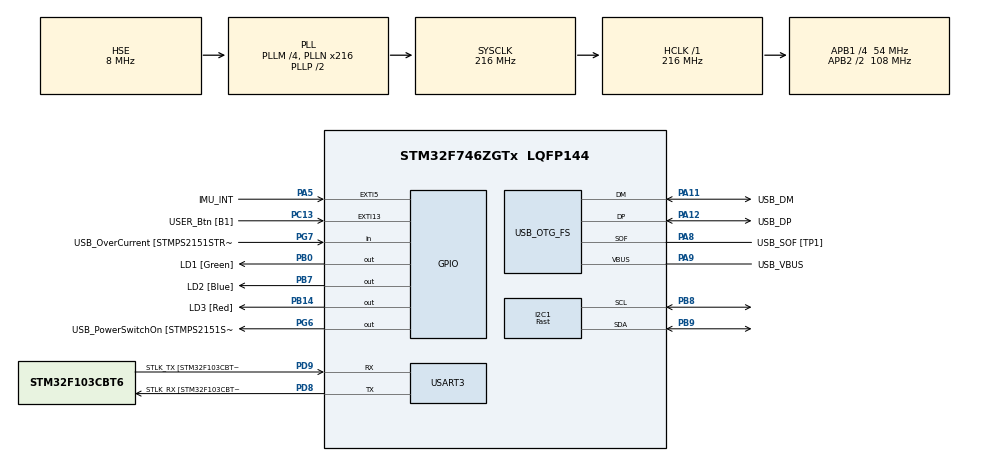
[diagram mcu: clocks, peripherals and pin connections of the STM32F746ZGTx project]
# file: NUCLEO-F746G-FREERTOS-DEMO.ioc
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FREERTOS.BinarySemaphores01=Motion_Semaphore,Static,Motion_Semaphore_ControlBlock
FREERTOS.Queues01=Send_Sensor_Data,16,uint16_t,0,Static,Send_Sensor_DataBuffer,Send_Sensor_DataControlBlock
FREERTOS.Tasks01=defaultTask,24,128,StartDefaultTask,Default,NULL,Dynamic,NULL,NULL;Sender_task,40,128,Start_Sender_task,As external,NULL,Dynamic,NULL,NULL;Reciver_task,41,2048,Start_Reciver_task,Default,NULL,Static,Reciver_taskBuffer,Reciver_taskControlBlock
FREERTOS.Timers01=Check_IMU_Angle_Timer,Check_Angle,osTimerOnce,As external,NULL,Dynamic,NULL
FREERTOS.configENABLE_FPU=1
FREERTOS.configUSE_NEWLIB_REENTRANT=1
I2C1.Analog_Filter=I2C_ANALOGFILTER_DISABLE
I2C1.I2C_Speed_Mode=I2C_Fast
I2C1.Timing=0x00501E63
Mcu.Family=STM32F7
Mcu.Name=STM32F746ZGTx
Mcu.Package=LQFP144
NVIC.EXTI15_10_IRQn=true\:5\:0\:false\:false\:true\:true\:true\:true
NVIC.EXTI9_5_IRQn=true\:5\:0\:false\:false\:true\:true\:true\:true
NVIC.PriorityGroup=NVIC_PRIORITYGROUP_4
NVIC.TIM8_TRG_COM_TIM14_IRQn=true\:15\:0\:false\:false\:true\:false\:false\:true
NVIC.TimeBase=TIM8_TRG_COM_TIM14_IRQn
NVIC.TimeBaseIP=TIM14
PA1.GPIO_Label=RMII_REF_CLK [LAN8742A-CZ-TR_REFCLK0]
PA1.Signal=ETH_REF_CLK
PA10.GPIO_Label=USB_ID
PA10.Signal=USB_OTG_FS_ID
PA11.GPIO_Label=USB_DM
PA11.Mode=Device_Only
PA11.Signal=USB_OTG_FS_DM
PA12.GPIO_Label=USB_DP
PA12.Mode=Device_Only
PA12.Signal=USB_OTG_FS_DP
PA13.GPIO_Label=TMS
PA13.Mode=Serial_Wire
PA13.Signal=SYS_JTMS-SWDIO
PA14.GPIO_Label=TCK
PA14.Mode=Serial_Wire
PA14.Signal=SYS_JTCK-SWCLK
PA2.GPIO_Label=RMII_MDIO [LAN8742A-CZ-TR_MDIO]
PA2.Signal=ETH_MDIO
PA5.GPIO_Label=IMU_INT
PA5.GPIO_ModeDefaultEXTI=GPIO_MODE_IT_FALLING
PA5.GPIO_PuPd=GPIO_NOPULL
PA5.Signal=GPXTI5
PA7.GPIO_Label=RMII_CRS_DV [LAN8742A-CZ-TR_CRS_DV]
PA7.Signal=ETH_CRS_DV
PA8.GPIO_Label=USB_SOF [TP1]
PA8.Mode=Activate_SOF_FS
PA8.Signal=USB_OTG_FS_SOF
PA9.GPIO_Label=USB_VBUS
PA9.Mode=Activate_VBUS
PA9.Signal=USB_OTG_FS_VBUS
PB0.GPIO_Label=LD1 [Green]
PB0.Signal=GPIO_Output
PB13.GPIO_Label=RMII_TXD1 [LAN8742A-CZ-TR_TXD1]
PB13.Signal=ETH_TXD1
PB14.GPIO_Label=LD3 [Red]
PB14.Signal=GPIO_Output
PB3.GPIO_Label=SW0
PB3.Signal=SYS_JTDO-SWO
PB7.GPIO_Label=LD2 [Blue]
PB7.Signal=GPIO_Output
PB8.Mode=I2C
PB8.Signal=I2C1_SCL
PB9.Mode=I2C
PB9.Signal=I2C1_SDA
PC1.GPIO_Label=RMII_MDC [LAN8742A-CZ-TR_MDC]
PC1.Signal=ETH_MDC
PC13.GPIO_Label=USER_Btn [B1]
PC13.Signal=GPXTI13
PC14/OSC32_IN.Mode=LSE-External-Oscillator
PC14/OSC32_IN.Signal=RCC_OSC32_IN
PC15/OSC32_OUT.Mode=LSE-External-Oscillator
PC15/OSC32_OUT.Signal=RCC_OSC32_OUT
PC4.GPIO_Label=RMII_RXD0 [LAN8742A-CZ-TR_RXD0]
PC4.Signal=ETH_RXD0
PC5.GPIO_Label=RMII_RXD1 [LAN8742A-CZ-TR_RXD1]
PC5.Signal=ETH_RXD1
PD8.GPIO_Label=STLK_RX [STM32F103CBT6_PA3]
PD8.Mode=Asynchronous
PD8.Signal=USART3_TX
PD9.GPIO_Label=STLK_TX [STM32F103CBT6_PA2]
PD9.Mode=Asynchronous
PD9.Signal=USART3_RX
PG11.GPIO_Label=RMII_TX_EN [LAN8742A-CZ-TR_TXEN]
PG11.Signal=ETH_TX_EN
PG13.GPIO_Label=RMII_TXD0 [LAN8742A-CZ-TR_TXD0]
PG13.Signal=ETH_TXD0
PG6.GPIO_Label=USB_PowerSwitchOn [STMPS2151STR_EN]
PG6.Signal=GPIO_Output
PG7.GPIO_Label=USB_OverCurrent [STMPS2151STR_FAULT]
PG7.Signal=GPIO_Input
PH0/OSC_IN.GPIO_Label=MCO [STM32F103CBT6_PA8]
PH0/OSC_IN.Mode=HSE-External-Clock-Source
PH0/OSC_IN.Signal=RCC_OSC_IN
PH1/OSC_OUT.Mode=HSE-External-Clock-Source
PH1/OSC_OUT.Signal=RCC_OSC_OUT
ProjectManager.HeapSize=0x200
ProjectManager.StackSize=0x400
ProjectManager.TargetToolchain=STM32CubeIDE
RCC.48MHZClocksFreq_Value=24000000
RCC.AHBFreq_Value=216000000
RCC.APB1CLKDivider=RCC_HCLK_DIV4
RCC.APB1Freq_Value=54000000
RCC.APB1TimFreq_Value=108000000
RCC.APB2CLKDivider=RCC_HCLK_DIV2
RCC.APB2Freq_Value=108000000
RCC.APB2TimFreq_Value=216000000
RCC.CortexFreq_Value=216000000
RCC.HCLKFreq_Value=216000000
RCC.HSE_VALUE=8000000
RCC.HSI_VALUE=16000000
RCC.PLLM=4
RCC.PLLMUL=RCC_PLL_MUL9
RCC.PLLN=216
RCC.PLLQ=9
RCC.PRESCALERUSB=RCC_USBCLKSOURCE_PLL_DIV1_5
RCC.SYSCLKFreq_VALUE=216000000
RCC.SYSCLKSource=RCC_SYSCLKSOURCE_PLLCLK
RCC.SYSCLKSourceVirtual=RCC_SYSCLKSOURCE_PLLCLK
RCC.USBFreq_Value=48000000
RCC.VCOOutputFreq_Value=432000000
USART3.VirtualMode-Asynchronous=VM_ASYNC
USB_OTG_FS.VirtualMode=Device_Only
VP_FREERTOS_VS_CMSIS_V2.Mode=CMSIS_V2
VP_SYS_VS_tim14.Mode=TIM14
board=NUCLEO-F746ZG

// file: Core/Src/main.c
/* USER CODE BEGIN Header */
/**
 ******************************************************************************
 * @file           : main.c
 * @brief          : Main program body
 ******************************************************************************
 * @attention
 *
 * Copyright (c) 2022 STMicroelectronics.
 * All rights reserved.
 *
 * This software is licensed under terms that can be found in the LICENSE file
 * in the root directory of this software component.
 * If no LICENSE file comes with this software, it is provided AS-IS.
 *
 ******************************************************************************
 */
/* USER CODE END Header */
#include "main.h"
#include "cmsis_os.h"

/* USER CODE BEGIN Includes */
#include "sender_task.h"
#include <stdio.h>
/* USER CODE END Includes */

typedef StaticTask_t osStaticThreadDef_t;
typedef StaticQueue_t osStaticMessageQDef_t;
typedef StaticSemaphore_t osStaticMutexDef_t;
typedef StaticSemaphore_t osStaticSemaphoreDef_t;

/* USER CODE BEGIN PD */
uint32_t counter_disp;
/* USER CODE END PD */

I2C_HandleTypeDef hi2c1;

UART_HandleTypeDef huart3;

PCD_HandleTypeDef hpcd_USB_OTG_FS;

/* Definitions for defaultTask */
osThreadId_t defaultTaskHandle;
const osThreadAttr_t defaultTask_attributes = {
  .name = "defaultTask",
  .stack_size = 2048 * 4,
  .priority = (osPriority_t) osPriorityNormal,
};
/* Definitions for Sender_task */
osThreadId_t Sender_taskHandle;
const osThreadAttr_t Sender_task_attributes = {
  .name = "Sender_task",
  .stack_size = 128 * 4,
  .priority = (osPriority_t) osPriorityHigh,
};
/* Definitions for Reciver_task */
osThreadId_t Reciver_taskHandle;
uint32_t Reciver_taskBuffer[ 2048 ];
osStaticThreadDef_t Reciver_taskControlBlock;
const osThreadAttr_t Reciver_task_attributes = {
  .name = "Reciver_task",
  .cb_mem = &Reciver_taskControlBlock,
  .cb_size = sizeof(Reciver_taskControlBlock),
  .stack_mem = &Reciver_taskBuffer[0],
  .stack_size = sizeof(Reciver_taskBuffer),
  .priority = (osPriority_t) osPriorityRealtime,
};
/* Definitions for Send_Sensor_Data */
osMessageQueueId_t Send_Sensor_DataHandle;
uint8_t Send_Sensor_DataBuffer[ 16 * sizeof( uint16_t ) ];
osStaticMessageQDef_t Send_Sensor_DataControlBlock;
const osMessageQueueAttr_t Send_Sensor_Data_attributes = {
  .name = "Send_Sensor_Data",
  .cb_mem = &Send_Sensor_DataControlBlock,
  .cb_size = sizeof(Send_Sensor_DataControlBlock),
  .mq_mem = &Send_Sensor_DataBuffer,
  .mq_size = sizeof(Send_Sensor_DataBuffer)
};
/* Definitions for Check_IMU_Angle_Timer */
osTimerId_t Check_IMU_Angle_TimerHandle;
const osTimerAttr_t Check_IMU_Angle_Timer_attributes = {
  .name = "Check_IMU_Angle_Timer"
};
/* Definitions for USART_MUTEX */
osMutexId_t USART_MUTEXHandle;
osStaticMutexDef_t USART_MUTEXControlBlock;
const osMutexAttr_t USART_MUTEX_attributes = {
  .name = "USART_MUTEX",
  .cb_mem = &USART_MUTEXControlBlock,
  .cb_size = sizeof(USART_MUTEXControlBlock),
};
/* Definitions for Motion_Semaphore */
osSemaphoreId_t Motion_SemaphoreHandle;
osStaticSemaphoreDef_t Motion_Semaphore_ControlBlock;
const osSemaphoreAttr_t Motion_Semaphore_attributes = {
  .name = "Motion_Semaphore",
  .cb_mem = &Motion_Semaphore_ControlBlock,
  .cb_size = sizeof(Motion_Semaphore_ControlBlock),
};

void SystemClock_Config(void);
static void MX_GPIO_Init(void);
static void MX_USART3_UART_Init(void);
static void MX_USB_OTG_FS_PCD_Init(void);
static void MX_I2C1_Init(void);
void StartDefaultTask(void *argument);
extern void Start_Sender_task(void *argument);
void Start_Reciver_task(void *argument);
extern void Check_Angle(void *argument);

int main(void)
{

  /* MCU Configuration--------------------------------------------------------*/

  /* Reset of all peripherals, Initializes the Flash interface and the Systick. */
  HAL_Init();

  /* Configure the system clock */
  SystemClock_Config();

  /* Initialize all configured peripherals */
  MX_GPIO_Init();
  MX_USART3_UART_Init();
  MX_USB_OTG_FS_PCD_Init();
  MX_I2C1_Init();

  /* Init scheduler */
  osKernelInitialize();
  /* Create the mutex(es) */
  /* creation of USART_MUTEX */
  USART_MUTEXHandle = osMutexNew(&USART_MUTEX_attributes);

  /* Create the semaphores(s) */
  /* creation of Motion_Semaphore */
  Motion_SemaphoreHandle = osSemaphoreNew(1, 1, &Motion_Semaphore_attributes);

  /* Create the timer(s) */
  /* creation of Check_IMU_Angle_Timer */
  Check_IMU_Angle_TimerHandle = osTimerNew(Check_Angle, osTimerOnce, NULL, &Check_IMU_Angle_Timer_attributes);

  /* Create the queue(s) */
  /* creation of Send_Sensor_Data */
  Send_Sensor_DataHandle = osMessageQueueNew (16, sizeof(uint16_t), &Send_Sensor_Data_attributes);

  /* Create the thread(s) */
  /* creation of defaultTask */
  defaultTaskHandle = osThreadNew(StartDefaultTask, NULL, &defaultTask_attributes);

  /* creation of Sender_task */
  Sender_taskHandle = osThreadNew(Start_Sender_task, NULL, &Sender_task_attributes);

  /* creation of Reciver_task */
  Reciver_taskHandle = osThreadNew(Start_Reciver_task, NULL, &Reciver_task_attributes);

  /* Start scheduler */
  osKernelStart();

  /* We should never get here as control is now taken by the scheduler */
  /* Infinite loop */
	while (1)
	{

	}
}

void SystemClock_Config(void)
{
  RCC_OscInitTypeDef RCC_OscInitStruct = {0};
  RCC_ClkInitTypeDef RCC_ClkInitStruct = {0};

  /** Configure LSE Drive Capability
  */
  HAL_PWR_EnableBkUpAccess();
  /** Configure the main internal regulator output voltage
  */
  __HAL_RCC_PWR_CLK_ENABLE();
  __HAL_PWR_VOLTAGESCALING_CONFIG(PWR_REGULATOR_VOLTAGE_SCALE1);
  /** Initializes the RCC Oscillators according to the specified parameters
  * in the RCC_OscInitTypeDef structure.
  */
  RCC_OscInitStruct.OscillatorType = RCC_OSCILLATORTYPE_HSE;
  RCC_OscInitStruct.HSEState = RCC_HSE_BYPASS;
  RCC_OscInitStruct.PLL.PLLState = RCC_PLL_ON;
  RCC_OscInitStruct.PLL.PLLSource = RCC_PLLSOURCE_HSE;
  RCC_OscInitStruct.PLL.PLLM = 4;
  RCC_OscInitStruct.PLL.PLLN = 216;
  RCC_OscInitStruct.PLL.PLLP = RCC_PLLP_DIV2;
  RCC_OscInitStruct.PLL.PLLQ = 9;
  if (HAL_RCC_OscConfig(&RCC_OscInitStruct) != HAL_OK)
  {
    Error_Handler();
  }
  /** Activate the Over-Drive mode
  */
  if (HAL_PWREx_EnableOverDrive() != HAL_OK)
  {
    Error_Handler();
  }
  /** Initializes the CPU, AHB and APB buses clocks
  */
  RCC_ClkInitStruct.ClockType = RCC_CLOCKTYPE_HCLK|RCC_CLOCKTYPE_SYSCLK
                              |RCC_CLOCKTYPE_PCLK1|RCC_CLOCKTYPE_PCLK2;
  RCC_ClkInitStruct.SYSCLKSource = RCC_SYSCLKSOURCE_PLLCLK;
  RCC_ClkInitStruct.AHBCLKDivider = RCC_SYSCLK_DIV1;
  RCC_ClkInitStruct.APB1CLKDivider = RCC_HCLK_DIV4;
  RCC_ClkInitStruct.APB2CLKDivider = RCC_HCLK_DIV2;

  if (HAL_RCC_ClockConfig(&RCC_ClkInitStruct, FLASH_LATENCY_7) != HAL_OK)
  {
    Error_Handler();
  }
}

static void MX_I2C1_Init(void)
{

  hi2c1.Instance = I2C1;
  hi2c1.Init.Timing = 0x00501E63;
  hi2c1.Init.OwnAddress1 = 0;
  hi2c1.Init.AddressingMode = I2C_ADDRESSINGMODE_7BIT;
  hi2c1.Init.DualAddressMode = I2C_DUALADDRESS_DISABLE;
  hi2c1.Init.OwnAddress2 = 0;
  hi2c1.Init.OwnAddress2Masks = I2C_OA2_NOMASK;
  hi2c1.Init.GeneralCallMode = I2C_GENERALCALL_DISABLE;
  hi2c1.Init.NoStretchMode = I2C_NOSTRETCH_DISABLE;
  if (HAL_I2C_Init(&hi2c1) != HAL_OK)
  {
    Error_Handler();
  }
  /** Configure Analogue filter
  */
  if (HAL_I2CEx_ConfigAnalogFilter(&hi2c1, I2C_ANALOGFILTER_DISABLE) != HAL_OK)
  {
    Error_Handler();
  }
  /** Configure Digital filter
  */
  if (HAL_I2CEx_ConfigDigitalFilter(&hi2c1, 0) != HAL_OK)
  {
    Error_Handler();
  }

}

static void MX_USART3_UART_Init(void)
{

  huart3.Instance = USART3;
  huart3.Init.BaudRate = 115200;
  huart3.Init.WordLength = UART_WORDLENGTH_8B;
  huart3.Init.StopBits = UART_STOPBITS_1;
  huart3.Init.Parity = UART_PARITY_NONE;
  huart3.Init.Mode = UART_MODE_TX_RX;
  huart3.Init.HwFlowCtl = UART_HWCONTROL_NONE;
  huart3.Init.OverSampling = UART_OVERSAMPLING_16;
  huart3.Init.OneBitSampling = UART_ONE_BIT_SAMPLE_DISABLE;
  huart3.AdvancedInit.AdvFeatureInit = UART_ADVFEATURE_NO_INIT;
  if (HAL_UART_Init(&huart3) != HAL_OK)
  {
    Error_Handler();
  }

}

static void MX_USB_OTG_FS_PCD_Init(void)
{

  hpcd_USB_OTG_FS.Instance = USB_OTG_FS;
  hpcd_USB_OTG_FS.Init.dev_endpoints = 6;
  hpcd_USB_OTG_FS.Init.speed = PCD_SPEED_FULL;
  hpcd_USB_OTG_FS.Init.dma_enable = DISABLE;
  hpcd_USB_OTG_FS.Init.phy_itface = PCD_PHY_EMBEDDED;
  hpcd_USB_OTG_FS.Init.Sof_enable = ENABLE;
  hpcd_USB_OTG_FS.Init.low_power_enable = DISABLE;
  hpcd_USB_OTG_FS.Init.lpm_enable = DISABLE;
  hpcd_USB_OTG_FS.Init.vbus_sensing_enable = ENABLE;
  hpcd_USB_OTG_FS.Init.use_dedicated_ep1 = DISABLE;
  if (HAL_PCD_Init(&hpcd_USB_OTG_FS) != HAL_OK)
  {
    Error_Handler();
  }

}

static void MX_GPIO_Init(void)
{
  GPIO_InitTypeDef GPIO_InitStruct = {0};

  /* GPIO Ports Clock Enable */
  __HAL_RCC_GPIOC_CLK_ENABLE();
  __HAL_RCC_GPIOH_CLK_ENABLE();
  __HAL_RCC_GPIOA_CLK_ENABLE();
  __HAL_RCC_GPIOB_CLK_ENABLE();
  __HAL_RCC_GPIOD_CLK_ENABLE();
  __HAL_RCC_GPIOG_CLK_ENABLE();

  /*Configure GPIO pin Output Level */
  HAL_GPIO_WritePin(GPIOB, LD1_Pin|LD3_Pin|LD2_Pin, GPIO_PIN_RESET);

  /*Configure GPIO pin Output Level */
  HAL_GPIO_WritePin(USB_PowerSwitchOn_GPIO_Port, USB_PowerSwitchOn_Pin, GPIO_PIN_RESET);

  /*Configure GPIO pin : USER_Btn_Pin */
  GPIO_InitStruct.Pin = USER_Btn_Pin;
  GPIO_InitStruct.Mode = GPIO_MODE_IT_RISING;
  GPIO_InitStruct.Pull = GPIO_NOPULL;
  HAL_GPIO_Init(USER_Btn_GPIO_Port, &GPIO_InitStruct);

  /*Configure GPIO pins : RMII_MDC_Pin RMII_RXD0_Pin RMII_RXD1_Pin */
  GPIO_InitStruct.Pin = RMII_MDC_Pin|RMII_RXD0_Pin|RMII_RXD1_Pin;
  GPIO_InitStruct.Mode = GPIO_MODE_AF_PP;
  GPIO_InitStruct.Pull = GPIO_NOPULL;
  GPIO_InitStruct.Speed = GPIO_SPEED_FREQ_VERY_HIGH;
  GPIO_InitStruct.Alternate = GPIO_AF11_ETH;
  HAL_GPIO_Init(GPIOC, &GPIO_InitStruct);

  /*Configure GPIO pins : RMII_REF_CLK_Pin RMII_MDIO_Pin RMII_CRS_DV_Pin */
  GPIO_InitStruct.Pin = RMII_REF_CLK_Pin|RMII_MDIO_Pin|RMII_CRS_DV_Pin;
  GPIO_InitStruct.Mode = GPIO_MODE_AF_PP;
  GPIO_InitStruct.Pull = GPIO_NOPULL;
  GPIO_InitStruct.Speed = GPIO_SPEED_FREQ_VERY_HIGH;
  GPIO_InitStruct.Alternate = GPIO_AF11_ETH;
  HAL_GPIO_Init(GPIOA, &GPIO_InitStruct);

  /*Configure GPIO pin : IMU_INT_Pin */
  GPIO_InitStruct.Pin = IMU_INT_Pin;
  GPIO_InitStruct.Mode = GPIO_MODE_IT_FALLING;
  GPIO_InitStruct.Pull = GPIO_NOPULL;
  HAL_GPIO_Init(IMU_INT_GPIO_Port, &GPIO_InitStruct);

  /*Configure GPIO pins : LD1_Pin LD3_Pin LD2_Pin */
  GPIO_InitStruct.Pin = LD1_Pin|LD3_Pin|LD2_Pin;
  GPIO_InitStruct.Mode = GPIO_MODE_OUTPUT_PP;
  GPIO_InitStruct.Pull = GPIO_NOPULL;
  GPIO_InitStruct.Speed = GPIO_SPEED_FREQ_LOW;
  HAL_GPIO_Init(GPIOB, &GPIO_InitStruct);

  /*Configure GPIO pin : RMII_TXD1_Pin */
  GPIO_InitStruct.Pin = RMII_TXD1_Pin;
  GPIO_InitStruct.Mode = GPIO_MODE_AF_PP;
  GPIO_InitStruct.Pull = GPIO_NOPULL;
  GPIO_InitStruct.Speed = GPIO_SPEED_FREQ_VERY_HIGH;
  GPIO_InitStruct.Alternate = GPIO_AF11_ETH;
  HAL_GPIO_Init(RMII_TXD1_GPIO_Port, &GPIO_InitStruct);

  /*Configure GPIO pin : USB_PowerSwitchOn_Pin */
  GPIO_InitStruct.Pin = USB_PowerSwitchOn_Pin;
  GPIO_InitStruct.Mode = GPIO_MODE_OUTPUT_PP;
  GPIO_InitStruct.Pull = GPIO_NOPULL;
  GPIO_InitStruct.Speed = GPIO_SPEED_FREQ_LOW;
  HAL_GPIO_Init(USB_PowerSwitchOn_GPIO_Port, &GPIO_InitStruct);

  /*Configure GPIO pin : USB_OverCurrent_Pin */
  GPIO_InitStruct.Pin = USB_OverCurrent_Pin;
  GPIO_InitStruct.Mode = GPIO_MODE_INPUT;
  GPIO_InitStruct.Pull = GPIO_NOPULL;
  HAL_GPIO_Init(USB_OverCurrent_GPIO_Port, &GPIO_InitStruct);

  /*Configure GPIO pins : RMII_TX_EN_Pin RMII_TXD0_Pin */
  GPIO_InitStruct.Pin = RMII_TX_EN_Pin|RMII_TXD0_Pin;
  GPIO_InitStruct.Mode = GPIO_MODE_AF_PP;
  GPIO_InitStruct.Pull = GPIO_NOPULL;
  GPIO_InitStruct.Speed = GPIO_SPEED_FREQ_VERY_HIGH;
  GPIO_InitStruct.Alternate = GPIO_AF11_ETH;
  HAL_GPIO_Init(GPIOG, &GPIO_InitStruct);

  /* EXTI interrupt init*/
  HAL_NVIC_SetPriority(EXTI9_5_IRQn, 5, 0);
  HAL_NVIC_EnableIRQ(EXTI9_5_IRQn);

  HAL_NVIC_SetPriority(EXTI15_10_IRQn, 5, 0);
  HAL_NVIC_EnableIRQ(EXTI15_10_IRQn);

}

void StartDefaultTask(void *argument)
{
  /* USER CODE BEGIN 5 */

	char buff[200];

	/* Infinite loop */
	for(;;)
	{

		osDelay(200);

		// To make sure that whole text is send in one go
		osMutexAcquire(USART_MUTEXHandle, osWaitForever);

		// some long action
		for(uint16_t i = 0; i<100; i++){
			uint16_t len =  (uint16_t)sprintf(buff, "Some long text %d ", i);
			HAL_UART_Transmit(&huart3, (uint8_t*)buff, len, 10);
		}
		HAL_UART_Transmit(&huart3, (uint8_t*)"\n", (uint8_t)2, 10);

		osMutexRelease(USART_MUTEXHandle);

		HAL_GPIO_TogglePin(LD1_GPIO_Port, LD1_Pin);

	}
  /* USER CODE END 5 */
}

void Start_Reciver_task(void *argument)
{
  /* USER CODE BEGIN Start_Reciver_task */

	char buff[30];

	/* Infinite loop */
	for(;;)
	{
		uint16_t recived_data = 0;
		osStatus_t status = osMessageQueueGet(Send_Sensor_DataHandle, &recived_data, NULL, osWaitForever);

		if (status == osOK) {

			osMutexAcquire(USART_MUTEXHandle, osWaitForever);
			uint16_t len = (uint16_t)sprintf(buff, "Pitch angle = %d\n" , recived_data);
			HAL_UART_Transmit(&huart3, (uint8_t*)buff, len, 10);
			osMutexRelease(USART_MUTEXHandle);

		}
		else {
			Error_Handler();
		}

	}
  /* USER CODE END Start_Reciver_task */
}

void HAL_TIM_PeriodElapsedCallback(TIM_HandleTypeDef *htim)
{
  if (htim->Instance == TIM14) {
    HAL_IncTick();
  }
}

void Error_Handler(void)
{
	__disable_irq();
	while (1)
	{
	}
}
